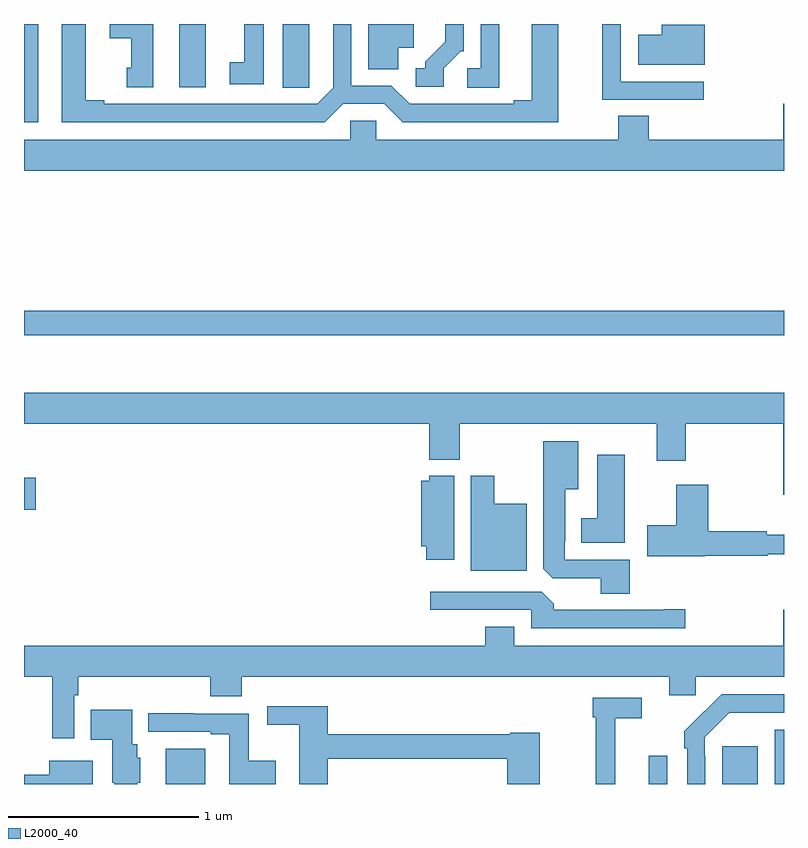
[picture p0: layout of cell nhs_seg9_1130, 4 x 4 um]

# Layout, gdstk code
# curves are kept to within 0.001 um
import gdstk
lib = gdstk.Library(unit=1e-6, precision=1e-09)
def R(c, l, rs):  # rectangles x0, y0, x1, y1
    for r in rs: c.add(gdstk.rectangle(r[:2], r[2:], *l))
def P(c, l, *ps):  # polygons
    for p in ps: c.add(gdstk.Polygon(p, *l))
L2000_40 = (2000, 40)

nhs_seg9_1130 = lib.new_cell('nhs_seg9_1130')
R(nhs_seg9_1130, L2000_40, [(173.747,1218.5,173.953,1218.685), (176.289,1218.5,176.385,1218.649), (176.675,1218.5,176.863,1218.7), (176.952,1218.5,177,1218.786), (173,1219.943,173.062,1220.113), (173,1220.862,177,1220.99), (173,1221.984,173.074,1222.5), (173.816,1222.167,173.956,1222.5)])
P(nhs_seg9_1130, L2000_40, [(174.679,1222.08),(174.897,1222.08),(174.993,1221.984),(175.813,1221.984),(175.813,1222.5),(175.673,1222.5),(175.673,1222.1),(175.577,1222.1),(175.577,1222.08),(175.029,1222.08),(174.933,1222.176),(174.723,1222.176),(174.723,1222.5),(174.627,1222.5),(174.627,1222.164),(174.543,1222.08),(173.422,1222.08),(173.422,1222.1),(173.326,1222.1),(173.326,1222.5),(173.198,1222.5),(173.198,1221.984),(174.583,1221.984)],
  [(174.262,1222.5),(174.158,1222.5),(174.158,1222.298),(174.084,1222.298),(174.084,1222.182),(174.262,1222.182)],
  [(176.578,1222.197),(176.142,1222.197),(176.142,1222.5),(176.044,1222.5),(176.044,1222.101),(176.578,1222.101)],
  [(175.501,1222.5),(175.404,1222.5),(175.404,1222.266),(175.332,1222.266),(175.332,1222.165),(175.501,1222.165)],
  [(175.209,1222.266),(175.299,1222.356),(175.314,1222.356),(175.314,1222.5),(175.217,1222.5),(175.217,1222.406),(175.112,1222.301),(175.112,1222.266),(175.062,1222.266),(175.062,1222.17),(175.209,1222.17)],
  [(174.501,1222.273),(174.502,1222.273),(174.502,1222.5),(174.362,1222.5),(174.362,1222.165),(174.501,1222.165)],
  [(174.97,1222.376),(175.051,1222.376),(175.051,1222.5),(174.812,1222.5),(174.812,1222.261),(174.97,1222.261)],
  [(173.68,1222.5),(173.45,1222.5),(173.45,1222.424),(173.564,1222.424),(173.564,1222.269),(173.54,1222.269),(173.54,1222.167),(173.68,1222.167)],
  [(176.584,1222.495),(176.357,1222.495),(176.357,1222.444),(176.232,1222.444),(176.232,1222.286),(176.584,1222.286)],
  [(177,1222.081),(176.996,1222.081),(176.996,1221.892),(176.288,1221.892),(176.288,1222.016),(176.128,1222.016),(176.128,1221.892),(174.855,1221.892),(174.855,1221.99),(174.717,1221.99),(174.717,1221.892),(173,1221.892),(173,1221.728),(177,1221.728)],
  [(177,1220.56),(173,1220.56),(173,1220.396),(175.133,1220.396),(175.133,1220.207),(175.293,1220.207),(175.293,1220.396),(176.33,1220.396),(176.33,1220.202),(176.483,1220.202),(176.483,1220.396),(176.996,1220.396),(176.996,1220.022),(177,1220.022)],
  [(176.189,1219.68),(175.845,1219.68),(175.845,1219.777),(175.849,1219.777),(175.849,1220.051),(175.918,1220.051),(175.918,1220.305),(175.733,1220.305),(175.733,1219.633),(175.782,1219.584),(176.036,1219.584),(176.036,1219.501),(176.189,1219.501)],
  [(176.161,1220.233),(176.018,1220.233),(176.018,1219.9),(175.934,1219.9),(175.934,1219.769),(176.161,1219.769)],
  [(175.264,1220.122),(175.134,1220.122),(175.134,1220.095),(175.091,1220.095),(175.091,1219.751),(175.118,1219.751),(175.118,1219.68),(175.264,1219.68)],
  [(175.645,1219.975),(175.474,1219.975),(175.474,1220.122),(175.352,1220.122),(175.352,1219.622),(175.645,1219.622)],
  [(176.583,1219.701),(176.914,1219.701),(176.914,1219.708),(177,1219.708),(177,1219.811),(176.909,1219.811),(176.909,1219.829),(176.6,1219.829),(176.6,1220.074),(176.432,1220.074),(176.432,1219.863),(176.28,1219.863),(176.28,1219.7),(176.583,1219.7)],
  [(176.479,1219.421),(176.366,1219.421),(176.366,1219.416),(175.787,1219.416),(175.787,1219.45),(175.725,1219.512),(175.137,1219.512),(175.137,1219.416),(175.671,1219.416),(175.671,1219.32),(176.479,1219.32)],
  [(173.265,1218.968),(173.285,1218.968),(173.285,1219.064),(173.981,1219.064),(173.981,1218.962),(174.146,1218.962),(174.146,1219.064),(176.396,1219.064),(176.396,1218.966),(176.535,1218.966),(176.535,1219.064),(177,1219.064),(177,1219.417),(176.996,1219.417),(176.996,1219.228),(175.579,1219.228),(175.579,1219.327),(175.427,1219.327),(175.427,1219.228),(173,1219.228),(173,1219.064),(173.149,1219.064),(173.149,1218.741),(173.265,1218.741)],
  [(176.586,1218.647),(176.583,1218.647),(176.583,1218.747),(176.712,1218.876),(177,1218.876),(177,1218.972),(176.672,1218.972),(176.475,1218.777),(176.475,1218.689),(176.49,1218.689),(176.49,1218.5),(176.586,1218.5)],
  [(176.111,1218.846),(176.251,1218.846),(176.251,1218.954),(175.993,1218.954),(175.993,1218.851),(176.008,1218.851),(176.008,1218.5),(176.111,1218.5)],
  [(174.599,1218.634),(175.544,1218.634),(175.544,1218.5),(175.714,1218.5),(175.714,1218.771),(175.56,1218.771),(175.56,1218.763),(174.599,1218.763),(174.599,1218.91),(174.279,1218.91),(174.279,1218.812),(174.449,1218.812),(174.449,1218.5),(174.599,1218.5)],
  [(173.596,1218.507),(173.611,1218.507),(173.611,1218.639),(173.596,1218.639),(173.596,1218.708),(173.569,1218.708),(173.569,1218.892),(173.35,1218.892),(173.35,1218.734),(173.465,1218.734),(173.465,1218.507),(173.474,1218.507),(173.474,1218.5),(173.596,1218.5)],
  [(174.325,1218.622),(174.182,1218.622),(174.182,1218.87),(173.897,1218.87),(173.897,1218.872),(173.655,1218.872),(173.655,1218.774),(173.984,1218.774),(173.984,1218.762),(174.081,1218.762),(174.081,1218.5),(174.325,1218.5)],
  [(173.362,1218.622),(173.132,1218.622),(173.132,1218.548),(173,1218.548),(173,1218.5),(173.362,1218.5)])

lib.write_gds('nhs_seg9_1130.gds')
